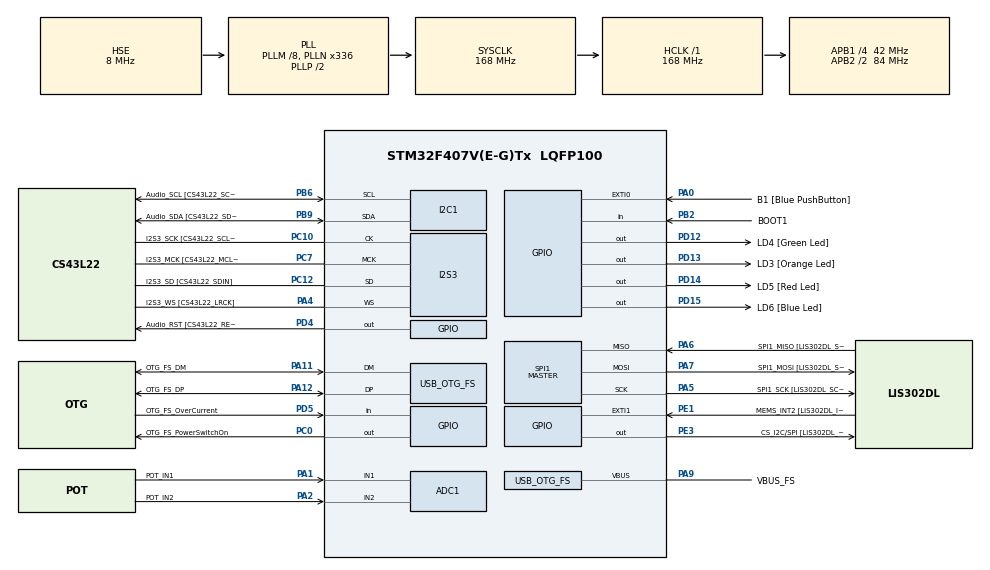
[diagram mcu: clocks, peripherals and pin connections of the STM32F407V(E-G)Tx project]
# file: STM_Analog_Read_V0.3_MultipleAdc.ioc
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ADC1.Channel-0\#ChannelRegularConversion=ADC_CHANNEL_1
ADC1.Channel-5\#ChannelRegularConversion=ADC_CHANNEL_2
ADC1.ContinuousConvMode=DISABLE
ADC1.EnableAnalogWatchDog=false
ADC1.InjNumberOfConversion=0
ADC1.NbrOfConversion=2
ADC1.NbrOfConversionFlag=1
ADC1.Rank-0\#ChannelRegularConversion=1
ADC1.Rank-5\#ChannelRegularConversion=2
ADC1.SamplingTime-0\#ChannelRegularConversion=ADC_SAMPLETIME_56CYCLES
ADC1.SamplingTime-5\#ChannelRegularConversion=ADC_SAMPLETIME_56CYCLES
ADC1.ScanConvMode=ENABLE
ADC1.master=1
I2S3.AudioFreq-Half_Duplex_Master=I2S_AUDIOFREQ_96K
I2S3.ErrorAudioFreq=-2.34 %
I2S3.ErrorAudioFreq-Half_Duplex_Master=0.8 %
I2S3.FullDuplexMode=I2S_FULLDUPLEXMODE_DISABLE
I2S3.Instance=SPI$Index
I2S3.RealAudioFreq=93.75 KHz
I2S3.RealAudioFreq-Half_Duplex_Master=96.774 KHz
I2S3.VirtualMode=I2S_MODE_MASTER
Mcu.Family=STM32F4
Mcu.Name=STM32F407V(E-G)Tx
Mcu.Package=LQFP100
NVIC.OTG_FS_IRQn=true\:0\:0\:false\:false\:true\:true\:true\:true
NVIC.PriorityGroup=NVIC_PRIORITYGROUP_0
PA0-WKUP.GPIO_Label=B1 [Blue PushButton]
PA0-WKUP.GPIO_ModeDefaultEXTI=GPIO_MODE_EVT_RISING
PA0-WKUP.GPIO_PuPd=GPIO_NOPULL
PA0-WKUP.Signal=GPXTI0
PA1.GPIO_Label=POT_IN1
PA1.Signal=ADCx_IN1
PA10.GPIO_Label=OTG_FS_ID
PA10.GPIO_Mode=GPIO_MODE_AF_PP
PA10.GPIO_PuPd=GPIO_NOPULL
PA10.GPIO_Speed=GPIO_SPEED_FREQ_LOW
PA10.Signal=USB_OTG_FS_ID
PA11.GPIO_Label=OTG_FS_DM
PA11.GPIO_Mode=GPIO_MODE_AF_PP
PA11.GPIO_PuPd=GPIO_NOPULL
PA11.GPIO_Speed=GPIO_SPEED_FREQ_LOW
PA11.Mode=Host_Only
PA11.Signal=USB_OTG_FS_DM
PA12.GPIO_Label=OTG_FS_DP
PA12.GPIO_Mode=GPIO_MODE_AF_PP
PA12.GPIO_PuPd=GPIO_NOPULL
PA12.GPIO_Speed=GPIO_SPEED_FREQ_LOW
PA12.Mode=Host_Only
PA12.Signal=USB_OTG_FS_DP
PA13.GPIO_Label=SWDIO
PA13.Mode=Serial_Wire
PA13.Signal=SYS_JTMS-SWDIO
PA14.GPIO_Label=SWCLK
PA14.Mode=Serial_Wire
PA14.Signal=SYS_JTCK-SWCLK
PA2.GPIO_Label=POT_IN2
PA2.Signal=ADCx_IN2
PA4.GPIO_Label=I2S3_WS [CS43L22_LRCK]
PA4.GPIO_Mode=GPIO_MODE_AF_PP
PA4.GPIO_PuPd=GPIO_NOPULL
PA4.GPIO_Speed=GPIO_SPEED_FREQ_LOW
PA4.Mode=Half_Duplex_Master
PA4.Signal=I2S3_WS
PA5.GPIO_Label=SPI1_SCK [LIS302DL_SCL/SPC]
PA5.GPIO_Mode=GPIO_MODE_AF_PP
PA5.GPIO_PuPd=GPIO_NOPULL
PA5.GPIO_Speed=GPIO_SPEED_FREQ_LOW
PA5.Mode=Full_Duplex_Master
PA5.Signal=SPI1_SCK
PA6.GPIO_Label=SPI1_MISO [LIS302DL_SDO]
PA6.GPIO_Mode=GPIO_MODE_AF_PP
PA6.GPIO_PuPd=GPIO_NOPULL
PA6.GPIO_Speed=GPIO_SPEED_FREQ_LOW
PA6.Mode=Full_Duplex_Master
PA6.Signal=SPI1_MISO
PA7.GPIO_Label=SPI1_MOSI [LIS302DL_SDA/SDI/SDO]
PA7.GPIO_Mode=GPIO_MODE_AF_PP
PA7.GPIO_PuPd=GPIO_NOPULL
PA7.GPIO_Speed=GPIO_SPEED_FREQ_LOW
PA7.Mode=Full_Duplex_Master
PA7.Signal=SPI1_MOSI
PA9.GPIO_Label=VBUS_FS
PA9.GPIO_Mode=GPIO_MODE_INPUT
PA9.GPIO_PuPd=GPIO_NOPULL
PA9.Mode=Activate_VBUS
PA9.Signal=USB_OTG_FS_VBUS
PB10.GPIO_Label=CLK_IN [MP45DT02_CLK]
PB10.GPIO_Mode=GPIO_MODE_AF_PP
PB10.GPIO_PuPd=GPIO_NOPULL
PB10.GPIO_Speed=GPIO_SPEED_FREQ_LOW
PB10.Signal=I2S2_CK
PB2.GPIO_Label=BOOT1
PB2.GPIO_Mode=GPIO_MODE_INPUT
PB2.GPIO_PuPd=GPIO_NOPULL
PB2.Signal=GPIO_Input
PB3.GPIO_Label=SWO
PB3.Signal=SYS_JTDO-SWO
PB6.GPIO_Label=Audio_SCL [CS43L22_SCL]
PB6.GPIO_Mode=GPIO_MODE_AF_OD
PB6.GPIO_Pu=GPIO_PULLUP
PB6.GPIO_PuPd=GPIO_NOPULL
PB6.GPIO_Speed=GPIO_SPEED_FREQ_LOW
PB6.Mode=I2C
PB6.Signal=I2C1_SCL
PB9.GPIO_Label=Audio_SDA [CS43L22_SDA]
PB9.GPIO_Mode=GPIO_MODE_AF_OD
PB9.GPIO_Pu=GPIO_PULLUP
PB9.GPIO_PuPd=GPIO_NOPULL
PB9.GPIO_Speed=GPIO_SPEED_FREQ_LOW
PB9.Mode=I2C
PB9.Signal=I2C1_SDA
PC0.GPIO_Label=OTG_FS_PowerSwitchOn
PC0.GPIO_PuPd=GPIO_NOPULL
PC0.GPIO_Speed=GPIO_SPEED_FREQ_LOW
PC0.PinState=GPIO_PIN_SET
PC0.Signal=GPIO_Output
PC10.GPIO_Label=I2S3_SCK [CS43L22_SCLK]
PC10.GPIO_Mode=GPIO_MODE_AF_PP
PC10.GPIO_PuPd=GPIO_NOPULL
PC10.GPIO_Speed=GPIO_SPEED_FREQ_LOW
PC10.Mode=Half_Duplex_Master
PC10.Signal=I2S3_CK
PC12.GPIO_Label=I2S3_SD [CS43L22_SDIN]
PC12.GPIO_Mode=GPIO_MODE_AF_PP
PC12.GPIO_PuPd=GPIO_NOPULL
PC12.GPIO_Speed=GPIO_SPEED_FREQ_LOW
PC12.Mode=Half_Duplex_Master
PC12.Signal=I2S3_SD
PC14-OSC32_IN.GPIO_Label=PC14-OSC32_IN
PC14-OSC32_IN.Mode=LSE-External-Oscillator
PC14-OSC32_IN.Signal=RCC_OSC32_IN
PC15-OSC32_OUT.GPIO_Label=PC15-OSC32_OUT
PC15-OSC32_OUT.Mode=LSE-External-Oscillator
PC15-OSC32_OUT.Signal=RCC_OSC32_OUT
PC3.GPIO_Label=PDM_OUT [MP45DT02_DOUT]
PC3.GPIO_Mode=GPIO_MODE_AF_PP
PC3.GPIO_PuPd=GPIO_NOPULL
PC3.GPIO_Speed=GPIO_SPEED_FREQ_LOW
PC3.Signal=I2S2_SD
PC7.GPIO_Label=I2S3_MCK [CS43L22_MCLK]
PC7.GPIO_Mode=GPIO_MODE_AF_PP
PC7.GPIO_PuPd=GPIO_NOPULL
PC7.GPIO_Speed=GPIO_SPEED_FREQ_LOW
PC7.Mode=Master_Clock_Activated
PC7.Signal=I2S3_MCK
PD12.GPIO_Label=LD4 [Green Led]
PD12.GPIO_PuPd=GPIO_NOPULL
PD12.GPIO_Speed=GPIO_SPEED_FREQ_LOW
PD12.Signal=GPIO_Output
PD13.GPIO_Label=LD3 [Orange Led]
PD13.GPIO_PuPd=GPIO_NOPULL
PD13.GPIO_Speed=GPIO_SPEED_FREQ_LOW
PD13.Signal=GPIO_Output
PD14.GPIO_Label=LD5 [Red Led]
PD14.GPIO_PuPd=GPIO_NOPULL
PD14.GPIO_Speed=GPIO_SPEED_FREQ_LOW
PD14.Signal=GPIO_Output
PD15.GPIO_Label=LD6 [Blue Led]
PD15.GPIO_PuPd=GPIO_NOPULL
PD15.GPIO_Speed=GPIO_SPEED_FREQ_LOW
PD15.Signal=GPIO_Output
PD4.GPIO_Label=Audio_RST [CS43L22_RESET]
PD4.GPIO_PuPd=GPIO_NOPULL
PD4.GPIO_Speed=GPIO_SPEED_FREQ_LOW
PD4.Signal=GPIO_Output
PD5.GPIO_Label=OTG_FS_OverCurrent
PD5.GPIO_Mode=GPIO_MODE_INPUT
PD5.GPIO_PuPd=GPIO_NOPULL
PD5.Signal=GPIO_Input
PE1.GPIO_Label=MEMS_INT2 [LIS302DL_INT2]
PE1.GPIO_ModeDefaultEXTI=GPIO_MODE_EVT_RISING
PE1.GPIO_PuPd=GPIO_NOPULL
PE1.Signal=GPXTI1
PE3.GPIO_Label=CS_I2C/SPI [LIS302DL_CS_I2C/SPI]
PE3.GPIO_PuPd=GPIO_NOPULL
PE3.GPIO_Speed=GPIO_SPEED_FREQ_LOW
PE3.Signal=GPIO_Output
PH0-OSC_IN.GPIO_Label=PH0-OSC_IN
PH0-OSC_IN.Mode=HSE-External-Oscillator
PH0-OSC_IN.Signal=RCC_OSC_IN
PH1-OSC_OUT.GPIO_Label=PH1-OSC_OUT
PH1-OSC_OUT.Mode=HSE-External-Oscillator
PH1-OSC_OUT.Signal=RCC_OSC_OUT
ProjectManager.HeapSize=0x200
ProjectManager.StackSize=0x400
ProjectManager.TargetToolchain=STM32CubeIDE
RCC.48MHZClocksFreq_Value=48000000
RCC.AHBFreq_Value=168000000
RCC.APB1CLKDivider=RCC_HCLK_DIV4
RCC.APB1Freq_Value=42000000
RCC.APB1TimFreq_Value=84000000
RCC.APB2CLKDivider=RCC_HCLK_DIV2
RCC.APB2Freq_Value=84000000
RCC.APB2TimFreq_Value=168000000
RCC.CortexFreq_Value=168000000
RCC.HCLKFreq_Value=168000000
RCC.HSE_VALUE=8000000
RCC.HSI_VALUE=16000000
RCC.PLLM=8
RCC.PLLN=336
RCC.PLLQ=7
RCC.SYSCLKFreq_VALUE=168000000
RCC.SYSCLKSource=RCC_SYSCLKSOURCE_PLLCLK
RCC.VCOOutputFreq_Value=336000000
SH.ADCx_IN1.0=ADC1_IN1,IN1
SH.ADCx_IN2.0=ADC1_IN2,IN2
SPI1.BaudRatePrescaler-Full_Duplex_Master=SPI_BAUDRATEPRESCALER_2
SPI1.CalculateBaudRate-Full_Duplex_Master=42.0 MBits/s
SPI1.Direction=SPI_DIRECTION_2LINES
SPI1.Mode=SPI_MODE_MASTER
SPI1.Mode-Full_Duplex_Master=SPI_MODE_MASTER
SPI1.VirtualType=VM_MASTER
USB_HOST.BSP.number=1
USB_HOST.USBH_HandleTypeDef-CDC_FS=hUsbHostFS
USB_HOST.VirtualModeFS=Cdc
USB_HOST0.BSP.STBoard=false
USB_HOST0.BSP.api=Unknown
USB_HOST0.BSP.instance=PC0
USB_HOST0.BSP.ip=GPIO
USB_HOST0.BSP.mode=Output
USB_HOST0.BSP.name=Drive_VBUS_FS
USB_HOST0.BSP.solution=PC0
USB_OTG_FS.VirtualMode=Host_Only
USB_OTG_FS.phy_itface=HCD_PHY_EMBEDDED
VP_USB_HOST_VS_USB_HOST_CDC_FS.Mode=CDC_FS
board=STM32F407G-DISC1

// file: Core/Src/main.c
/* USER CODE BEGIN Header */
/**
  ******************************************************************************
  * @file           : main.c
  * @brief          : Main program body
  ******************************************************************************
  * @attention
  *
  * Copyright (c) 2023 STMicroelectronics.
  * All rights reserved.
  *
  * This software is licensed under terms that can be found in the LICENSE file
  * in the root directory of this software component.
  * If no LICENSE file comes with this software, it is provided AS-IS.
  *
  ******************************************************************************
  */
/* USER CODE END Header */
#include "main.h"
#include "usb_host.h"

ADC_HandleTypeDef hadc1;

I2C_HandleTypeDef hi2c1;

I2S_HandleTypeDef hi2s3;

SPI_HandleTypeDef hspi1;

void SystemClock_Config(void);
static void MX_GPIO_Init(void);
static void MX_I2C1_Init(void);
static void MX_I2S3_Init(void);
static void MX_SPI1_Init(void);
static void MX_ADC1_Init(void);
void MX_USB_HOST_Process(void);

/* USER CODE BEGIN 0 */
void ADC_Select_CH1 (void){
	ADC_ChannelConfTypeDef sConfig = {0};

sConfig.Channel = ADC_CHANNEL_1;
sConfig.Rank = 1;
sConfig.SamplingTime = ADC_SAMPLETIME_56CYCLES;
if (HAL_ADC_ConfigChannel(&hadc1, &sConfig) != HAL_OK)
{
  Error_Handler();
}
}
/** Configure for the selected ADC regular channel its corresponding rank in the sequencer and its sample time.
*/
void ADC_Select_CH2 (void){
	ADC_ChannelConfTypeDef sConfig = {0};

sConfig.Channel = ADC_CHANNEL_2;
sConfig.Rank = 2;
sConfig.SamplingTime = ADC_SAMPLETIME_56CYCLES;
if (HAL_ADC_ConfigChannel(&hadc1, &sConfig) != HAL_OK)
{
  Error_Handler();
}
}

uint16_t adcValue[2];
/* USER CODE END 0 */

int main(void)
{

  /* MCU Configuration--------------------------------------------------------*/

  /* Reset of all peripherals, Initializes the Flash interface and the Systick. */
  HAL_Init();

  /* Configure the system clock */
  SystemClock_Config();

  /* Initialize all configured peripherals */
  MX_GPIO_Init();
  MX_I2C1_Init();
  MX_I2S3_Init();
  MX_SPI1_Init();
  MX_USB_HOST_Init();
  MX_ADC1_Init();

  /* Infinite loop */
  while (1)
  {
	  ADC_Select_CH1();
	  HAL_ADC_Start(&hadc1);
	  HAL_ADC_PollForConversion(&hadc1, 1000);
	  adcValue[0] = HAL_ADC_GetValue(&hadc1);
	  HAL_ADC_Stop(&hadc1);

	  ADC_Select_CH2();
	  HAL_ADC_Start(&hadc1);
	  HAL_ADC_PollForConversion(&hadc1, 1000);
	  adcValue[1] = HAL_ADC_GetValue(&hadc1);
	  HAL_ADC_Stop(&hadc1);
  }
}

void SystemClock_Config(void)
{
  RCC_OscInitTypeDef RCC_OscInitStruct = {0};
  RCC_ClkInitTypeDef RCC_ClkInitStruct = {0};

  /** Configure the main internal regulator output voltage
  */
  __HAL_RCC_PWR_CLK_ENABLE();
  __HAL_PWR_VOLTAGESCALING_CONFIG(PWR_REGULATOR_VOLTAGE_SCALE1);

  /** Initializes the RCC Oscillators according to the specified parameters
  * in the RCC_OscInitTypeDef structure.
  */
  RCC_OscInitStruct.OscillatorType = RCC_OSCILLATORTYPE_HSE;
  RCC_OscInitStruct.HSEState = RCC_HSE_ON;
  RCC_OscInitStruct.PLL.PLLState = RCC_PLL_ON;
  RCC_OscInitStruct.PLL.PLLSource = RCC_PLLSOURCE_HSE;
  RCC_OscInitStruct.PLL.PLLM = 8;
  RCC_OscInitStruct.PLL.PLLN = 336;
  RCC_OscInitStruct.PLL.PLLP = RCC_PLLP_DIV2;
  RCC_OscInitStruct.PLL.PLLQ = 7;
  if (HAL_RCC_OscConfig(&RCC_OscInitStruct) != HAL_OK)
  {
    Error_Handler();
  }

  /** Initializes the CPU, AHB and APB buses clocks
  */
  RCC_ClkInitStruct.ClockType = RCC_CLOCKTYPE_HCLK|RCC_CLOCKTYPE_SYSCLK
                              |RCC_CLOCKTYPE_PCLK1|RCC_CLOCKTYPE_PCLK2;
  RCC_ClkInitStruct.SYSCLKSource = RCC_SYSCLKSOURCE_PLLCLK;
  RCC_ClkInitStruct.AHBCLKDivider = RCC_SYSCLK_DIV1;
  RCC_ClkInitStruct.APB1CLKDivider = RCC_HCLK_DIV4;
  RCC_ClkInitStruct.APB2CLKDivider = RCC_HCLK_DIV2;

  if (HAL_RCC_ClockConfig(&RCC_ClkInitStruct, FLASH_LATENCY_5) != HAL_OK)
  {
    Error_Handler();
  }
}

static void MX_ADC1_Init(void)
{

  ADC_ChannelConfTypeDef sConfig = {0};

  /** Configure the global features of the ADC (Clock, Resolution, Data Alignment and number of conversion)
  */
  hadc1.Instance = ADC1;
  hadc1.Init.ClockPrescaler = ADC_CLOCK_SYNC_PCLK_DIV4;
  hadc1.Init.Resolution = ADC_RESOLUTION_12B;
  hadc1.Init.ScanConvMode = ENABLE;
  hadc1.Init.ContinuousConvMode = DISABLE;
  hadc1.Init.DiscontinuousConvMode = DISABLE;
  hadc1.Init.ExternalTrigConvEdge = ADC_EXTERNALTRIGCONVEDGE_NONE;
  hadc1.Init.ExternalTrigConv = ADC_SOFTWARE_START;
  hadc1.Init.DataAlign = ADC_DATAALIGN_RIGHT;
  hadc1.Init.NbrOfConversion = 1;
  hadc1.Init.DMAContinuousRequests = DISABLE;
  hadc1.Init.EOCSelection = ADC_EOC_SINGLE_CONV;
  if (HAL_ADC_Init(&hadc1) != HAL_OK)
  {
    Error_Handler();
  }

  /** Configure for the selected ADC regular channel its corresponding rank in the sequencer and its sample time.
  */

}

static void MX_I2C1_Init(void)
{

  hi2c1.Instance = I2C1;
  hi2c1.Init.ClockSpeed = 100000;
  hi2c1.Init.DutyCycle = I2C_DUTYCYCLE_2;
  hi2c1.Init.OwnAddress1 = 0;
  hi2c1.Init.AddressingMode = I2C_ADDRESSINGMODE_7BIT;
  hi2c1.Init.DualAddressMode = I2C_DUALADDRESS_DISABLE;
  hi2c1.Init.OwnAddress2 = 0;
  hi2c1.Init.GeneralCallMode = I2C_GENERALCALL_DISABLE;
  hi2c1.Init.NoStretchMode = I2C_NOSTRETCH_DISABLE;
  if (HAL_I2C_Init(&hi2c1) != HAL_OK)
  {
    Error_Handler();
  }

}

static void MX_I2S3_Init(void)
{

  hi2s3.Instance = SPI3;
  hi2s3.Init.Mode = I2S_MODE_MASTER_TX;
  hi2s3.Init.Standard = I2S_STANDARD_PHILIPS;
  hi2s3.Init.DataFormat = I2S_DATAFORMAT_16B;
  hi2s3.Init.MCLKOutput = I2S_MCLKOUTPUT_ENABLE;
  hi2s3.Init.AudioFreq = I2S_AUDIOFREQ_96K;
  hi2s3.Init.CPOL = I2S_CPOL_LOW;
  hi2s3.Init.ClockSource = I2S_CLOCK_PLL;
  hi2s3.Init.FullDuplexMode = I2S_FULLDUPLEXMODE_DISABLE;
  if (HAL_I2S_Init(&hi2s3) != HAL_OK)
  {
    Error_Handler();
  }

}

static void MX_SPI1_Init(void)
{

  /* SPI1 parameter configuration*/
  hspi1.Instance = SPI1;
  hspi1.Init.Mode = SPI_MODE_MASTER;
  hspi1.Init.Direction = SPI_DIRECTION_2LINES;
  hspi1.Init.DataSize = SPI_DATASIZE_8BIT;
  hspi1.Init.CLKPolarity = SPI_POLARITY_LOW;
  hspi1.Init.CLKPhase = SPI_PHASE_1EDGE;
  hspi1.Init.NSS = SPI_NSS_SOFT;
  hspi1.Init.BaudRatePrescaler = SPI_BAUDRATEPRESCALER_2;
  hspi1.Init.FirstBit = SPI_FIRSTBIT_MSB;
  hspi1.Init.TIMode = SPI_TIMODE_DISABLE;
  hspi1.Init.CRCCalculation = SPI_CRCCALCULATION_DISABLE;
  hspi1.Init.CRCPolynomial = 10;
  if (HAL_SPI_Init(&hspi1) != HAL_OK)
  {
    Error_Handler();
  }

}

static void MX_GPIO_Init(void)
{
  GPIO_InitTypeDef GPIO_InitStruct = {0};

  /* GPIO Ports Clock Enable */
  __HAL_RCC_GPIOE_CLK_ENABLE();
  __HAL_RCC_GPIOC_CLK_ENABLE();
  __HAL_RCC_GPIOH_CLK_ENABLE();
  __HAL_RCC_GPIOA_CLK_ENABLE();
  __HAL_RCC_GPIOB_CLK_ENABLE();
  __HAL_RCC_GPIOD_CLK_ENABLE();

  /*Configure GPIO pin Output Level */
  HAL_GPIO_WritePin(CS_I2C_SPI_GPIO_Port, CS_I2C_SPI_Pin, GPIO_PIN_RESET);

  /*Configure GPIO pin Output Level */
  HAL_GPIO_WritePin(OTG_FS_PowerSwitchOn_GPIO_Port, OTG_FS_PowerSwitchOn_Pin, GPIO_PIN_SET);

  /*Configure GPIO pin Output Level */
  HAL_GPIO_WritePin(GPIOD, LD4_Pin|LD3_Pin|LD5_Pin|LD6_Pin
                          |Audio_RST_Pin, GPIO_PIN_RESET);

  /*Configure GPIO pin : CS_I2C_SPI_Pin */
  GPIO_InitStruct.Pin = CS_I2C_SPI_Pin;
  GPIO_InitStruct.Mode = GPIO_MODE_OUTPUT_PP;
  GPIO_InitStruct.Pull = GPIO_NOPULL;
  GPIO_InitStruct.Speed = GPIO_SPEED_FREQ_LOW;
  HAL_GPIO_Init(CS_I2C_SPI_GPIO_Port, &GPIO_InitStruct);

  /*Configure GPIO pin : OTG_FS_PowerSwitchOn_Pin */
  GPIO_InitStruct.Pin = OTG_FS_PowerSwitchOn_Pin;
  GPIO_InitStruct.Mode = GPIO_MODE_OUTPUT_PP;
  GPIO_InitStruct.Pull = GPIO_NOPULL;
  GPIO_InitStruct.Speed = GPIO_SPEED_FREQ_LOW;
  HAL_GPIO_Init(OTG_FS_PowerSwitchOn_GPIO_Port, &GPIO_InitStruct);

  /*Configure GPIO pin : PDM_OUT_Pin */
  GPIO_InitStruct.Pin = PDM_OUT_Pin;
  GPIO_InitStruct.Mode = GPIO_MODE_AF_PP;
  GPIO_InitStruct.Pull = GPIO_NOPULL;
  GPIO_InitStruct.Speed = GPIO_SPEED_FREQ_LOW;
  GPIO_InitStruct.Alternate = GPIO_AF5_SPI2;
  HAL_GPIO_Init(PDM_OUT_GPIO_Port, &GPIO_InitStruct);

  /*Configure GPIO pin : B1_Pin */
  GPIO_InitStruct.Pin = B1_Pin;
  GPIO_InitStruct.Mode = GPIO_MODE_EVT_RISING;
  GPIO_InitStruct.Pull = GPIO_NOPULL;
  HAL_GPIO_Init(B1_GPIO_Port, &GPIO_InitStruct);

  /*Configure GPIO pin : BOOT1_Pin */
  GPIO_InitStruct.Pin = BOOT1_Pin;
  GPIO_InitStruct.Mode = GPIO_MODE_INPUT;
  GPIO_InitStruct.Pull = GPIO_NOPULL;
  HAL_GPIO_Init(BOOT1_GPIO_Port, &GPIO_InitStruct);

  /*Configure GPIO pin : CLK_IN_Pin */
  GPIO_InitStruct.Pin = CLK_IN_Pin;
  GPIO_InitStruct.Mode = GPIO_MODE_AF_PP;
  GPIO_InitStruct.Pull = GPIO_NOPULL;
  GPIO_InitStruct.Speed = GPIO_SPEED_FREQ_LOW;
  GPIO_InitStruct.Alternate = GPIO_AF5_SPI2;
  HAL_GPIO_Init(CLK_IN_GPIO_Port, &GPIO_InitStruct);

  /*Configure GPIO pins : LD4_Pin LD3_Pin LD5_Pin LD6_Pin
                           Audio_RST_Pin */
  GPIO_InitStruct.Pin = LD4_Pin|LD3_Pin|LD5_Pin|LD6_Pin
                          |Audio_RST_Pin;
  GPIO_InitStruct.Mode = GPIO_MODE_OUTPUT_PP;
  GPIO_InitStruct.Pull = GPIO_NOPULL;
  GPIO_InitStruct.Speed = GPIO_SPEED_FREQ_LOW;
  HAL_GPIO_Init(GPIOD, &GPIO_InitStruct);

  /*Configure GPIO pin : OTG_FS_OverCurrent_Pin */
  GPIO_InitStruct.Pin = OTG_FS_OverCurrent_Pin;
  GPIO_InitStruct.Mode = GPIO_MODE_INPUT;
  GPIO_InitStruct.Pull = GPIO_NOPULL;
  HAL_GPIO_Init(OTG_FS_OverCurrent_GPIO_Port, &GPIO_InitStruct);

  /*Configure GPIO pin : MEMS_INT2_Pin */
  GPIO_InitStruct.Pin = MEMS_INT2_Pin;
  GPIO_InitStruct.Mode = GPIO_MODE_EVT_RISING;
  GPIO_InitStruct.Pull = GPIO_NOPULL;
  HAL_GPIO_Init(MEMS_INT2_GPIO_Port, &GPIO_InitStruct);

}

void Error_Handler(void)
{
  __disable_irq();
  while (1)
  {
  }
}
